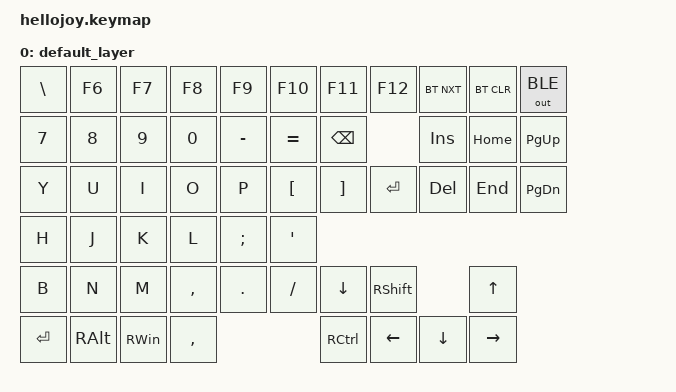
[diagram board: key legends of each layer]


#include <behaviors.dtsi>
#include <dt-bindings/zmk/bt.h>

#include <dt-bindings/zmk/keys.h>
#include <dt-bindings/zmk/outputs.h>


/ {
    

    keymap {
        compatible = "zmk,keymap";

        default_layer {
            bindings = <
                // 右手部分 (将 &bt BT_NXT 改为 &mo 2)
                &kp BSLH     &kp F6      &kp F7      &kp F8      &kp F9      &kp F10     &kp F11     &kp F12     &bt BT_NXT  &bt BT_CLR  &out OUT_BLE
                &kp N7       &kp N8      &kp N9      &kp N0      &kp MINUS   &kp EQUAL   &kp BSPC                &kp INS     &kp HOME    &kp PG_UP
                &kp Y        &kp U       &kp I       &kp O       &kp P       &kp LBKT    &kp RBKT    &kp RET     &kp DEL     &kp END     &kp PG_DN
                &kp H        &kp J       &kp K       &kp L       &kp SEMI    &kp SINGLE_QUOTE
                &kp B        &kp N       &kp M       &kp COMMA   &kp DOT     &kp FSLH    &kp DOWN    &kp RSHIFT              &kp UP
                &kp RET      &kp RALT    &kp RWIN    &kp COMMA       &kp RCTRL                           &kp LEFT    &kp DOWN    &kp RIGHT
            >;
        };
        
    };
};
